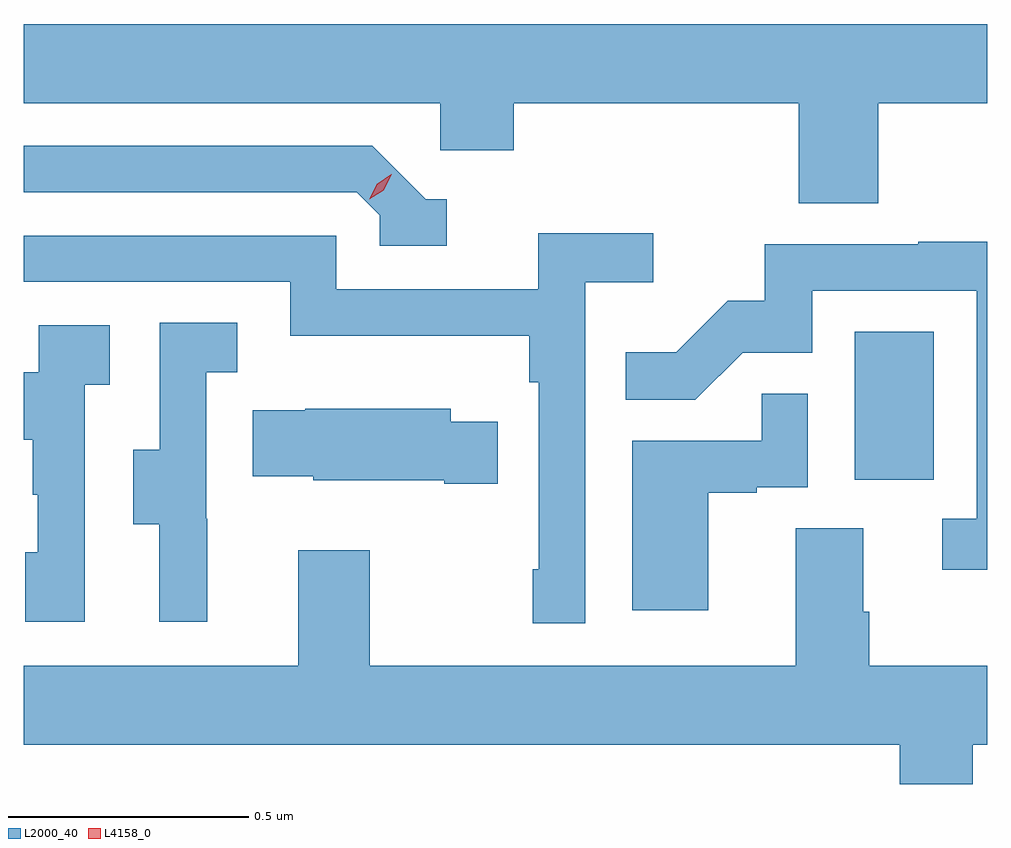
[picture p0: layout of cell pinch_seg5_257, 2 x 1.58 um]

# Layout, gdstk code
import gdstk
lib = gdstk.Library(unit=1e-6, precision=1e-09)
def R(c, l, rs):  # rectangles x0, y0, x1, y1
    for r in rs: c.add(gdstk.rectangle(r[:2], r[2:], *l))
def P(c, l, *ps):  # polygons
    for p in ps: c.add(gdstk.Polygon(p, *l))
L2000_40 = (2000, 40)
L4158_0 = (4158, 0)

pinch_seg5_257 = lib.new_cell('pinch_seg5_257')
R(pinch_seg5_257, L2000_40, [(935.702,910.59,935.866,910.897)])
P(pinch_seg5_257, L2000_40, [(935.75,911.372),(935.977,911.372),(935.977,911.536),(933.977,911.536),(933.977,911.372),(934.842,911.372),(934.842,911.274),(934.994,911.274),(934.994,911.372),(935.585,911.372),(935.585,911.164),(935.75,911.164)],
  [(934.855,911.172),(934.812,911.172),(934.701,911.283),(933.977,911.283),(933.977,911.187),(934.668,911.187),(934.716,911.139),(934.716,911.076),(934.855,911.076)],
  [(935.142,911),(935.284,911),(935.284,911.102),(935.045,911.102),(935.045,910.986),(934.626,910.986),(934.626,911.097),(933.977,911.097),(933.977,911.001),(934.53,911.001),(934.53,910.889),(935.026,910.889),(935.026,910.793),(935.046,910.793),(935.046,910.405),(935.034,910.405),(935.034,910.293),(935.142,910.293)],
  [(935.977,911.084),(935.833,911.084),(935.833,911.079),(935.515,911.079),(935.515,910.962),(935.438,910.962),(935.331,910.855),(935.227,910.855),(935.227,910.756),(935.371,910.756),(935.469,910.854),(935.613,910.854),(935.613,910.983),(935.955,910.983),(935.955,910.509),(935.883,910.509),(935.883,910.404),(935.977,910.404)],
  [(934.358,910.509),(934.356,910.509),(934.356,910.813),(934.42,910.813),(934.42,910.916),(934.26,910.916),(934.26,910.653),(934.205,910.653),(934.205,910.498),(934.259,910.498),(934.259,910.296),(934.358,910.296)],
  [(934.104,910.787),(934.156,910.787),(934.156,910.911),(934.008,910.911),(934.008,910.813),(933.977,910.813),(933.977,910.673),(933.996,910.673),(933.996,910.559),(934.006,910.559),(934.006,910.44),(933.98,910.44),(933.98,910.296),(934.104,910.296)],
  [(935.398,910.563),(935.498,910.563),(935.498,910.575),(935.604,910.575),(935.604,910.769),(935.509,910.769),(935.509,910.671),(935.24,910.671),(935.24,910.32),(935.398,910.32)],
  [(934.961,910.711),(934.863,910.711),(934.863,910.738),(934.561,910.738),(934.561,910.735),(934.453,910.735),(934.453,910.598),(934.578,910.598),(934.578,910.589),(934.85,910.589),(934.85,910.582),(934.961,910.582)],
  [(935.947,910.04),(935.977,910.04),(935.977,910.204),(935.732,910.204),(935.732,910.316),(935.719,910.316),(935.719,910.49),(935.579,910.49),(935.579,910.204),(934.695,910.204),(934.695,910.444),(934.547,910.444),(934.547,910.204),(933.977,910.204),(933.977,910.04),(935.795,910.04),(935.795,909.959),(935.947,909.959)])
P(pinch_seg5_257, L4158_0, [(934.694,911.172),(934.694,911.172),(934.71,911.204),(934.74,911.224),(934.741,911.224),(934.741,911.224),(934.724,911.191),(934.694,911.172)])

lib.write_gds('pinch_seg5_257.gds')
